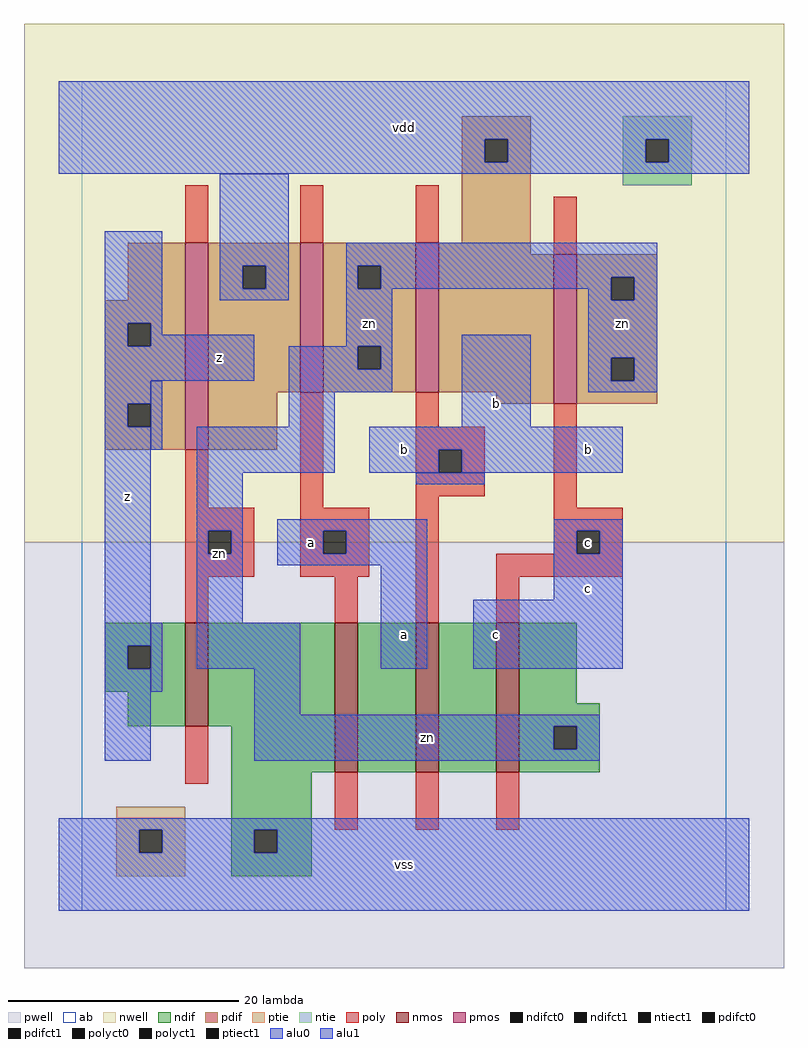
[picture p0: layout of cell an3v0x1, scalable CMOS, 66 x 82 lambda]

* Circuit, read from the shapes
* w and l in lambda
.subckt an3v0x1 a b c vdd vss z zn
M1 vss zn z vss nfet w=9 l=2
M2 n1 a vss vss nfet w=13 l=2
M3 n2 b n1 vss nfet w=13 l=2
M4 zn c n2 vss nfet w=13 l=2
M5 vdd zn z vdd pfet w=18 l=2
M6 zn a vdd vdd pfet w=13 l=2
M7 vdd b zn vdd pfet w=13 l=2
M8 zn c vdd vdd pfet w=13 l=2
.ends

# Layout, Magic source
magic
tech scmos
<< ab >>
rect 0 0 56 72
<< nwell >>
rect -5 32 61 77
<< pwell >>
rect -5 -5 61 32
<< poly >>
rect 9 58 11 63
rect 19 58 21 63
rect 29 58 31 63
rect 41 57 43 62
rect 9 35 11 40
rect 19 35 21 45
rect 29 42 31 45
rect 29 40 35 42
rect 29 38 31 40
rect 33 38 35 40
rect 29 36 35 38
rect 9 33 15 35
rect 9 31 11 33
rect 13 31 15 33
rect 9 29 15 31
rect 19 33 25 35
rect 19 31 21 33
rect 23 31 25 33
rect 19 29 25 31
rect 9 25 11 29
rect 22 25 24 29
rect 29 25 31 36
rect 41 35 43 44
rect 41 33 47 35
rect 41 31 43 33
rect 45 31 47 33
rect 36 29 47 31
rect 36 25 38 29
rect 9 11 11 16
rect 22 7 24 12
rect 29 7 31 12
rect 36 7 38 12
<< ndif >>
rect 2 23 9 25
rect 2 21 4 23
rect 6 21 9 23
rect 2 19 9 21
rect 4 16 9 19
rect 11 16 22 25
rect 13 12 22 16
rect 24 12 29 25
rect 31 12 36 25
rect 38 18 43 25
rect 38 16 45 18
rect 38 14 41 16
rect 43 14 45 16
rect 38 12 45 14
rect 13 7 20 12
rect 13 5 15 7
rect 17 5 20 7
rect 13 3 20 5
<< pdif >>
rect 33 67 39 69
rect 33 65 35 67
rect 37 65 39 67
rect 33 58 39 65
rect 4 53 9 58
rect 2 51 9 53
rect 2 49 4 51
rect 6 49 9 51
rect 2 44 9 49
rect 2 42 4 44
rect 6 42 9 44
rect 2 40 9 42
rect 11 56 19 58
rect 11 54 14 56
rect 16 54 19 56
rect 11 45 19 54
rect 21 56 29 58
rect 21 54 24 56
rect 26 54 29 56
rect 21 49 29 54
rect 21 47 24 49
rect 26 47 29 49
rect 21 45 29 47
rect 31 57 39 58
rect 31 45 41 57
rect 11 40 17 45
rect 36 44 41 45
rect 43 55 50 57
rect 43 53 46 55
rect 48 53 50 55
rect 43 48 50 53
rect 43 46 46 48
rect 48 46 50 48
rect 43 44 50 46
<< alu1 >>
rect -2 67 58 72
rect -2 65 35 67
rect 37 65 49 67
rect 51 65 58 67
rect -2 64 58 65
rect 2 51 7 59
rect 2 49 4 51
rect 6 50 7 51
rect 6 49 15 50
rect 2 46 15 49
rect 2 44 6 46
rect 2 42 4 44
rect 2 23 6 42
rect 33 42 39 50
rect 25 40 47 42
rect 25 38 31 40
rect 33 38 47 40
rect 17 33 30 34
rect 17 31 21 33
rect 23 31 30 33
rect 17 30 30 31
rect 2 21 4 23
rect 2 13 6 21
rect 26 21 30 30
rect 41 33 47 34
rect 41 31 43 33
rect 45 31 47 33
rect 41 27 47 31
rect 34 21 47 27
rect -2 7 58 8
rect -2 5 5 7
rect 7 5 15 7
rect 17 5 58 7
rect -2 0 58 5
<< ptie >>
rect 3 7 9 9
rect 3 5 5 7
rect 7 5 9 7
rect 3 3 9 5
<< ntie >>
rect 47 67 53 69
rect 47 65 49 67
rect 51 65 53 67
rect 47 63 53 65
<< nmos >>
rect 9 16 11 25
rect 22 12 24 25
rect 29 12 31 25
rect 36 12 38 25
<< pmos >>
rect 9 40 11 58
rect 19 45 21 58
rect 29 45 31 58
rect 41 44 43 57
<< polyct0 >>
rect 11 31 13 33
<< polyct1 >>
rect 31 38 33 40
rect 21 31 23 33
rect 43 31 45 33
<< ndifct0 >>
rect 41 14 43 16
<< ndifct1 >>
rect 4 21 6 23
rect 15 5 17 7
<< ntiect1 >>
rect 49 65 51 67
<< ptiect1 >>
rect 5 5 7 7
<< pdifct0 >>
rect 14 54 16 56
rect 24 54 26 56
rect 24 47 26 49
rect 46 53 48 55
rect 46 46 48 48
<< pdifct1 >>
rect 35 65 37 67
rect 4 49 6 51
rect 4 42 6 44
<< alu0 >>
rect 12 56 18 64
rect 12 54 14 56
rect 16 54 18 56
rect 12 53 18 54
rect 23 56 50 58
rect 23 54 24 56
rect 26 55 50 56
rect 26 54 46 55
rect 23 49 27 54
rect 44 53 46 54
rect 48 53 50 55
rect 18 47 24 49
rect 26 47 27 49
rect 6 40 7 46
rect 18 45 27 47
rect 18 42 22 45
rect 44 48 50 53
rect 44 46 46 48
rect 48 46 50 48
rect 44 45 50 46
rect 10 38 22 42
rect 10 33 14 38
rect 29 37 35 38
rect 10 31 11 33
rect 13 31 14 33
rect 10 25 14 31
rect 6 19 7 25
rect 10 21 19 25
rect 15 17 19 21
rect 15 16 45 17
rect 15 14 41 16
rect 43 14 45 16
rect 15 13 45 14
<< labels >>
rlabel alu0 12 31 12 31 6 zn
rlabel alu0 25 51 25 51 6 zn
rlabel alu0 30 15 30 15 6 zn
rlabel alu0 47 51 47 51 6 zn
rlabel alu1 4 36 4 36 6 z
rlabel alu1 20 32 20 32 6 a
rlabel alu1 12 48 12 48 6 z
rlabel alu1 28 4 28 4 6 vss
rlabel alu1 28 24 28 24 6 a
rlabel alu1 36 24 36 24 6 c
rlabel alu1 28 40 28 40 6 b
rlabel alu1 36 44 36 44 6 b
rlabel alu1 28 68 28 68 6 vdd
rlabel alu1 44 28 44 28 6 c
rlabel polyct1 44 32 44 32 6 c
rlabel alu1 44 40 44 40 6 b
<< end >>
